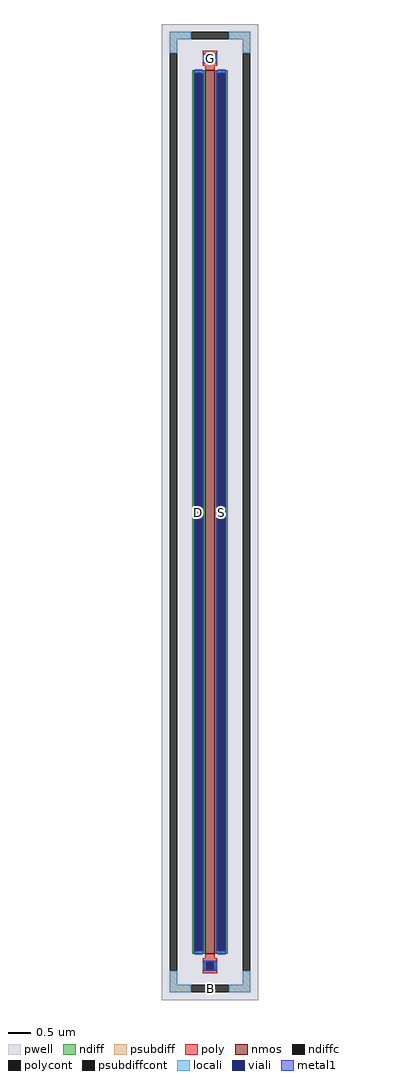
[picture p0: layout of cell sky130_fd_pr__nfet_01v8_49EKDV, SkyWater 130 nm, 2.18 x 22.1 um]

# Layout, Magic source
magic
tech sky130A
magscale 1 2
<< pwell >>
rect -218 -2210 218 2210
<< nmos >>
rect -22 -2000 22 2000
<< ndiff >>
rect -80 1988 -22 2000
rect -80 -1988 -68 1988
rect -34 -1988 -22 1988
rect -80 -2000 -22 -1988
rect 22 1988 80 2000
rect 22 -1988 34 1988
rect 68 -1988 80 1988
rect 22 -2000 80 -1988
<< ndiffc >>
rect -68 -1988 -34 1988
rect 34 -1988 68 1988
<< psubdiff >>
rect -182 2140 -86 2174
rect 86 2140 182 2174
rect -182 2078 -148 2140
rect 148 2078 182 2140
rect -182 -2140 -148 -2078
rect 148 -2140 182 -2078
rect -182 -2174 -86 -2140
rect 86 -2174 182 -2140
<< psubdiffcont >>
rect -86 2140 86 2174
rect -182 -2078 -148 2078
rect 148 -2078 182 2078
rect -86 -2174 86 -2140
<< poly >>
rect -33 2072 33 2088
rect -33 2038 -17 2072
rect 17 2038 33 2072
rect -33 2022 33 2038
rect -22 2000 22 2022
rect -22 -2022 22 -2000
rect -33 -2038 33 -2022
rect -33 -2072 -17 -2038
rect 17 -2072 33 -2038
rect -33 -2088 33 -2072
<< polycont >>
rect -17 2038 17 2072
rect -17 -2072 17 -2038
<< locali >>
rect -182 2140 -86 2174
rect 86 2140 182 2174
rect -182 2078 -148 2140
rect 148 2078 182 2140
rect -33 2038 -17 2072
rect 17 2038 33 2072
rect -68 1988 -34 2004
rect -68 -2004 -34 -1988
rect 34 1988 68 2004
rect 34 -2004 68 -1988
rect -33 -2072 -17 -2038
rect 17 -2072 33 -2038
rect -182 -2140 -148 -2078
rect 148 -2140 182 -2078
rect -182 -2174 -86 -2140
rect 86 -2174 182 -2140
<< viali >>
rect -17 2038 17 2072
rect -68 -1988 -34 1988
rect 34 -1988 68 1988
rect -17 -2072 17 -2038
<< metal1 >>
rect -29 2072 29 2078
rect -29 2038 -17 2072
rect 17 2038 29 2072
rect -29 2032 29 2038
rect -74 1988 -28 2000
rect -74 -1988 -68 1988
rect -34 -1988 -28 1988
rect -74 -2000 -28 -1988
rect 28 1988 74 2000
rect 28 -1988 34 1988
rect 68 -1988 74 1988
rect 28 -2000 74 -1988
rect -29 -2038 29 -2032
rect -29 -2072 -17 -2038
rect 17 -2072 29 -2038
rect -29 -2078 29 -2072
<< labels >>
rlabel psubdiffcont 0 -2157 0 -2157 0 B
port 1 nsew
rlabel ndiffc -51 0 -51 0 0 D
port 2 nsew
rlabel ndiffc 51 0 51 0 0 S
port 3 nsew
rlabel polycont 0 2055 0 2055 0 G
port 4 nsew
<< properties >>
string FIXED_BBOX -165 -2157 165 2157
string gencell sky130_fd_pr__nfet_01v8
string library sky130
string parameters w 20 l 0.220 m 1 nf 1 diffcov 100 polycov 100 guard 1 glc 1 grc 1 gtc 1 gbc 1 tbcov 100 rlcov 100 topc 1 botc 1 poverlap 0 doverlap 1 lmin 0.15 wmin 0.42 class mosfet compatible {sky130_fd_pr__nfet_01v8 sky130_fd_pr__nfet_01v8_lvt  sky130_fd_bs_flash__special_sonosfet_star  sky130_fd_pr__nfet_g5v0d10v5 sky130_fd_pr__nfet_05v0_nvt  sky130_fd_pr__nfet_03v3_nvt} full_metal 1 conn_gates 0 viasrc 100 viadrn 100 viagate 100 viagb 0 viagr 0 viagl 0 viagt 0 doports 1
<< end >>
